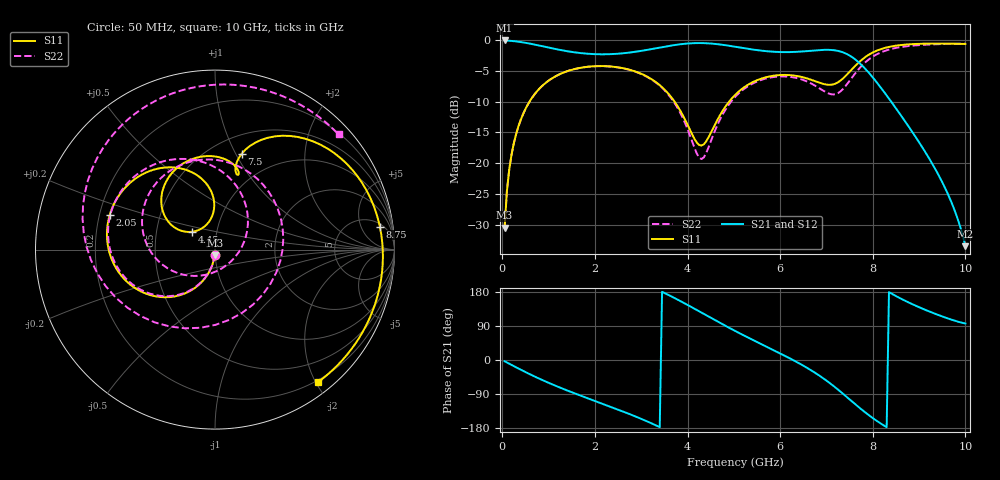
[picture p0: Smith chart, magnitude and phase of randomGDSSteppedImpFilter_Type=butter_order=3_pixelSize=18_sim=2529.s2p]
! freq	dB(S11)	phase(S11)	dB(S12)	phase(S12)
!  dB(S21)	phase(S21)	dB(S22)	phase(S22)
!S-par simulation data
#  GHz  S  DB  R 50
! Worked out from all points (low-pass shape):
!   200 points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, 50 MHz to 10 GHz, reference 50 ohm
!   highest |S21| = -0.01 dB at 50 MHz (marker M1); lowest = -33.5 dB at 10 GHz (marker M2)
!   |S21| within 3 dB of the highest: start of sweep to 7.606 GHz
!   lowest |S11| = -30.5 dB at 50 MHz (marker M3), VSWR 1.06, Z = 49.7 - j2.97 ohm
!   |S11| at or under -10 dB: start of sweep to 586.3 MHz; 3.722 GHz to 4.896 GHz (1.175 GHz wide, 27.3 % of centre)
!   |S22| runs from -30.5 to -0.5 dB; largest |S21 - S12| = 0
!   S11 on the Smith chart (normalised r, x): 50 MHz: 0.99, -0.06; 2.05 GHz: 0.24, +0.15; 4.45 GHz: 0.76, +0.15; 7.5 GHz: 0.68, +1.06; 8.75 GHz: 6, +11; 10 GHz: 0.17, -2.03
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0.05  -30.49 -93.4  -0.01 -3.3  -0.01 -3.3  -30.49 -93.5
0.2  -18.59 -103.4  -0.08 -13.0  -0.08 -13.0  -18.60 -103.7
0.5  -11.17 -122.0  -0.39 -31.8  -0.39 -31.8  -11.17 -122.7
1.05  -6.29 -152.5  -1.25 -62.9  -1.25 -62.9  -6.30 -154.2
1.75  -4.39 174.7  -2.11 -96.7  -2.11 -96.7  -4.39 171.0
2.05  -4.19 161.7  -2.25 -110.3  -2.25 -110.3  -4.19 156.9
2.8  -4.89 129.9  -1.93 -145.2  -1.93 -145.2  -4.91 119.7
3.4  -7.29 104.3  -1.17 -177.2  -1.17 -177.2  -7.38 83.0
3.9  -12.22 90.9  -0.58 151.9  -0.58 151.9  -12.68 37.9
4.25  -17.03 115.4  -0.43 128.5  -0.43 128.5  -19.09 -35.5
4.45  -15.84 142.1  -0.48 114.8  -0.48 114.8  -17.49 -99.0
5.05  -8.71 143.0  -1.06 75.2  -1.06 75.2  -9.03 -176.8
5.55  -6.33 121.5  -1.63 44.5  -1.63 44.5  -6.54 145.2
6.05  -5.63 99.2  -1.90 14.3  -1.90 14.3  -5.86 108.8
6.7  -6.49 75.6  -1.66 -29.6  -1.66 -29.6  -7.14 47.0
7.1  -7.22 73.6  -1.55 -63.5  -1.55 -63.5  -8.77 -20.6
7.5  -5.11 74.4  -2.47 -104.0  -2.47 -104.0  -6.58 -110.8
7.9  -2.40 56.6  -5.14 -144.2  -5.14 -144.2  -3.18 -175.1
8.35  -1.06 30.0  -9.48 179.0  -9.48 179.0  -1.49 137.9
8.75  -0.66 7.9  -13.76 153.2  -13.76 153.2  -0.93 108.1
9.3  -0.52 -19.7  -20.29 124.2  -20.29 124.2  -0.64 76.1
10  -0.58 -52.2  -33.52 96.4  -33.52 96.4  -0.53 43.0
